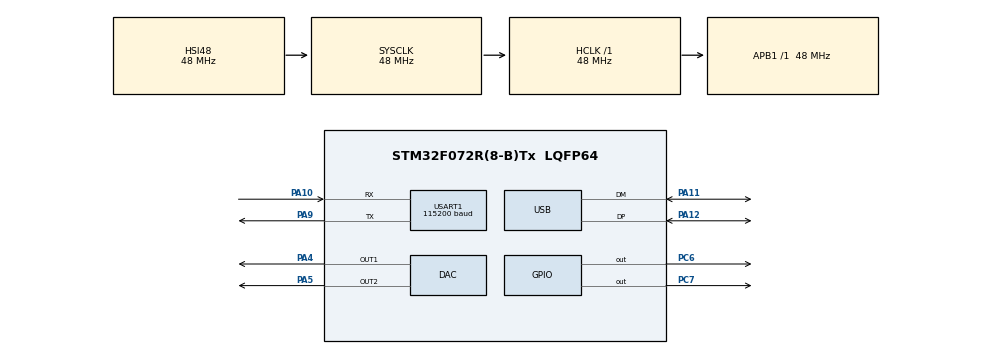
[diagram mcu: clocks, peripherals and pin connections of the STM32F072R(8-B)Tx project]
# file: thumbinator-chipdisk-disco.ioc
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DAC.DAC_OutputBuffer2=DAC_OUTPUTBUFFER_DISABLE
DAC.DAC_Trigger=DAC_TRIGGER_T6_TRGO
DAC.DAC_Trigger2=DAC_TRIGGER_NONE
DAC.WaveGeneration=DISABLE
Dma.DAC_CH1.0.Direction=DMA_MEMORY_TO_PERIPH
Dma.DAC_CH1.0.Instance=DMA1_Channel3
Dma.DAC_CH1.0.MemDataAlignment=DMA_MDATAALIGN_BYTE
Dma.DAC_CH1.0.MemInc=DMA_MINC_ENABLE
Dma.DAC_CH1.0.Mode=DMA_CIRCULAR
Dma.DAC_CH1.0.PeriphDataAlignment=DMA_PDATAALIGN_BYTE
Dma.DAC_CH1.0.PeriphInc=DMA_PINC_DISABLE
Dma.DAC_CH1.0.Priority=DMA_PRIORITY_LOW
Dma.Request0=DAC_CH1
Mcu.Family=STM32F0
Mcu.Name=STM32F072R(8-B)Tx
Mcu.Package=LQFP64
NVIC.DMA1_Channel2_3_IRQn=true\:0\:0\:false\:false\:true
PA10.Mode=Asynchronous
PA10.Signal=USART1_RX
PA11.Mode=Device
PA11.Signal=USB_DM
PA12.Mode=Device
PA12.Signal=USB_DP
PA4.Signal=COMP_DAC1_group
PA5.Signal=COMP_DAC2_group
PA9.Mode=Asynchronous
PA9.Signal=USART1_TX
PC6.Signal=GPIO_Output
PC7.Signal=GPIO_Output
ProjectManager.HeapSize=0x200
ProjectManager.StackSize=0x400
ProjectManager.TargetToolchain=SW4STM32
RCC.AHBFreq_Value=48000000
RCC.APB1Freq_Value=48000000
RCC.APB1TimFreq_Value=48000000
RCC.HCLKFreq_Value=48000000
RCC.SYSCLKFreq_VALUE=48000000
RCC.SYSCLKSource=RCC_SYSCLKSOURCE_HSI48
SH.COMP_DAC1_group.0=DAC_OUT1,DAC_OUT1
SH.COMP_DAC2_group.0=DAC_OUT2,DAC_OUT2
TIM6.Period=10000
TIM6.TIM_MasterOutputTrigger=TIM_TRGO_UPDATE
USART1.BaudRate=115200
USART1.WordLength=UART_WORDLENGTH_8B
VP_TIM6_VS_ClockSourceINT.Mode=Enable_Timer
board=thumbinator-chipdisk-disco

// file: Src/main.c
/**
  ******************************************************************************
  * File Name          : main.c
  * Description        : Main program body
  ******************************************************************************
  *
  * COPYRIGHT(c) 2016 STMicroelectronics
  *
  * Redistribution and use in source and binary forms, with or without modification,
  * are permitted provided that the following conditions are met:
  *   1. Redistributions of source code must retain the above copyright notice,
  *      this list of conditions and the following disclaimer.
  *   2. Redistributions in binary form must reproduce the above copyright notice,
  *      this list of conditions and the following disclaimer in the documentation
  *      and/or other materials provided with the distribution.
  *   3. Neither the name of STMicroelectronics nor the names of its contributors
  *      may be used to endorse or promote products derived from this software
  *      without specific prior written permission.
  *
  * THIS SOFTWARE IS PROVIDED BY THE COPYRIGHT HOLDERS AND CONTRIBUTORS "AS IS"
  * AND ANY EXPRESS OR IMPLIED WARRANTIES, INCLUDING, BUT NOT LIMITED TO, THE
  * IMPLIED WARRANTIES OF MERCHANTABILITY AND FITNESS FOR A PARTICULAR PURPOSE ARE
  * DISCLAIMED. IN NO EVENT SHALL THE COPYRIGHT HOLDER OR CONTRIBUTORS BE LIABLE
  * FOR ANY DIRECT, INDIRECT, INCIDENTAL, SPECIAL, EXEMPLARY, OR CONSEQUENTIAL
  * DAMAGES (INCLUDING, BUT NOT LIMITED TO, PROCUREMENT OF SUBSTITUTE GOODS OR
  * SERVICES; LOSS OF USE, DATA, OR PROFITS; OR BUSINESS INTERRUPTION) HOWEVER
  * CAUSED AND ON ANY THEORY OF LIABILITY, WHETHER IN CONTRACT, STRICT LIABILITY,
  * OR TORT (INCLUDING NEGLIGENCE OR OTHERWISE) ARISING IN ANY WAY OUT OF THE USE
  * OF THIS SOFTWARE, EVEN IF ADVISED OF THE POSSIBILITY OF SUCH DAMAGE.
  *
  ******************************************************************************
  */
#include "main.h"
#include "stm32f0xx_hal.h"

/* USER CODE BEGIN Includes */
#include "utils.h"
#include "micromod.h"
#include "test.h"

/* USER CODE END Includes */

DAC_HandleTypeDef hdac;
DMA_HandleTypeDef hdma_dac_ch1;

TIM_HandleTypeDef htim6;

UART_HandleTypeDef huart1;

PCD_HandleTypeDef hpcd_USB_FS;

/* USER CODE BEGIN PV */
/* Private variables ---------------------------------------------------------*/
int16_t song_length;
uint8_t buffer1[512*1];
uint8_t buffer2[512*1];
int16_t decoded[512*1];
uint32_t *active_buffer = buffer1;

/* USER CODE END PV */

void SystemClock_Config(void);
void Error_Handler(void);
static void MX_GPIO_Init(void);
static void MX_DMA_Init(void);
static void MX_USB_PCD_Init(void);
static void MX_DAC_Init(void);
static void MX_TIM6_Init(void);
static void MX_USART1_UART_Init(void);

/* USER CODE BEGIN PFP */
/* Private function prototypes -----------------------------------------------*/

/* USER CODE END PFP */

/* USER CODE BEGIN 0 */
void HAL_DAC_ConvCpltCallbackCh1(DAC_HandleTypeDef* hdac)
//void HAL_DAC_ConvHalfCpltCallbackCh1(DAC_HandleTypeDef* hdac)
{

  UNUSED(hdac);

//  HAL_DAC_Stop_DMA(&hdac, DAC_CHANNEL_1);

//  uart_printf(".");

  // swap
//  DMA1_Channel3->CMAR = (uint32_t) & *active_buffer;
//  active_buffer = active_buffer == buffer1 ? buffer2 : buffer1;

  int i;
  for (i = 0; i < sizeof(decoded)/2; i++) {
    decoded[i] = 0;
  }

  micromod_get_audio(decoded, sizeof(decoded)/4);

  for (i = 0; i < sizeof(decoded)/4; i++) {
//    active_buffer[i] = (decoded[i*2+1] >> 8) + 0x7f;
//    active_buffer[i] = (decoded[i*2+1] >> 1) + 0x7fff;
    active_buffer[i] = (decoded[i*2+1] >> 8);
  }
//  HAL_DMA_Start_IT(hdac->DMA_Handle1, (uint32_t)buffer1, (uint32_t)&hdac->Instance->DHR8R1, sizeof(buffer1)/4);

//  HAL_DAC_Stop_DMA(&hdac, DAC_CHANNEL_1);
//  HAL_DAC_Start_DMA(&hdac, DAC_CHANNEL_1, (uint8_t*)buffer1, sizeof(buffer1), DAC_ALIGN_8B_R);
}

/* USER CODE END 0 */

int main(void)
{

  /* MCU Configuration----------------------------------------------------------*/

  /* Reset of all peripherals, Initializes the Flash interface and the Systick. */
  HAL_Init();

  /* Configure the system clock */
  SystemClock_Config();

  /* Initialize all configured peripherals */
  MX_GPIO_Init();
  MX_DMA_Init();
  MX_USB_PCD_Init();
  MX_DAC_Init();
  MX_TIM6_Init();
  MX_USART1_UART_Init();

  /* USER CODE BEGIN 2 */
  HAL_GPIO_WritePin(GPIOC, GPIO_PIN_7, GPIO_PIN_SET);
  song_length = micromod_calculate_mod_file_len(chiptune);
//  micromod_initialise(chiptune, 48000);
  micromod_initialise(chiptune, 8000);

  HAL_Delay(100);

//  HAL_TIM_Base_MspInit(&htim6);

//  HAL_DAC_Start(&hdac, DAC_CHANNEL_1);
//  HAL_DAC_Start_DMA(&hdac, DAC_CHANNEL_1, sintable2, sizeof(sintable), DAC_ALIGN_8B_R);
//  HAL_DAC_Start_DMA(&hdac, DAC_CHANNEL_1, noise, sizeof(noise), DAC_ALIGN_8B_R);
  HAL_DAC_Start_DMA(&hdac, DAC_CHANNEL_1, (uint8_t*)buffer1, sizeof(buffer1), DAC_ALIGN_8B_R);

  // Start the timer!! Important!
  __HAL_TIM_ENABLE(&htim6);
//  HAL_TIM_Base_MspInit(&htim6);

  /* USER CODE END 2 */

  /* Infinite loop */
  /* USER CODE BEGIN WHILE */
  int i = 0;
  uart_printf("Hello! %d\r\n", i);
  while (1)
  {
  /* USER CODE END WHILE */

  /* USER CODE BEGIN 3 */

  HAL_GPIO_TogglePin(GPIOC, GPIO_PIN_7);
  HAL_Delay(100);

  i++;
  uart_printf("Hello! %d\r\n", i);

#if 0
    i = (i + 2) % (sizeof(sintable)/2);
    HAL_DAC_SetValue(&hdac, DAC_CHANNEL_1, DAC_ALIGN_8B_R, sintable[i]);
    volatile int x;
    for(x=0;x<2000;x++);
#endif

#if 0
      int i;
      for (i = 0; i < sizeof(buffer)/2; i++) {
        buffer[i] = 0;
      }
      HAL_GPIO_TogglePin(GPIOC, GPIO_PIN_7);
      micromod_get_audio(buffer, sizeof(buffer));
      for (i = 0; i < sizeof(buffer)/4; i++) {
        if (buffer[i*2] > 0) {
          HAL_GPIO_WritePin(GPIOC, GPIO_PIN_6, GPIO_PIN_SET);
        }
        else {
          HAL_GPIO_WritePin(GPIOC, GPIO_PIN_6, GPIO_PIN_RESET);
        }
        {
          volatile int zz;
          for (zz = 0; zz < 150; zz++);
        }
      }
#endif

  }
  /* USER CODE END 3 */

}

/** System Clock Configuration
*/
void SystemClock_Config(void)
{

  RCC_OscInitTypeDef RCC_OscInitStruct;
  RCC_ClkInitTypeDef RCC_ClkInitStruct;
  RCC_PeriphCLKInitTypeDef PeriphClkInit;

    /**Initializes the CPU, AHB and APB busses clocks
    */
  RCC_OscInitStruct.OscillatorType = RCC_OSCILLATORTYPE_HSI48;
  RCC_OscInitStruct.HSI48State = RCC_HSI48_ON;
  RCC_OscInitStruct.PLL.PLLState = RCC_PLL_NONE;
  if (HAL_RCC_OscConfig(&RCC_OscInitStruct) != HAL_OK)
  {
    Error_Handler();
  }

    /**Initializes the CPU, AHB and APB busses clocks
    */
  RCC_ClkInitStruct.ClockType = RCC_CLOCKTYPE_HCLK|RCC_CLOCKTYPE_SYSCLK
                              |RCC_CLOCKTYPE_PCLK1;
  RCC_ClkInitStruct.SYSCLKSource = RCC_SYSCLKSOURCE_HSI48;
  RCC_ClkInitStruct.AHBCLKDivider = RCC_SYSCLK_DIV1;
  RCC_ClkInitStruct.APB1CLKDivider = RCC_HCLK_DIV1;

  if (HAL_RCC_ClockConfig(&RCC_ClkInitStruct, FLASH_LATENCY_1) != HAL_OK)
  {
    Error_Handler();
  }

  PeriphClkInit.PeriphClockSelection = RCC_PERIPHCLK_USB|RCC_PERIPHCLK_USART1;
  PeriphClkInit.Usart1ClockSelection = RCC_USART1CLKSOURCE_PCLK1;
  PeriphClkInit.UsbClockSelection = RCC_USBCLKSOURCE_HSI48;

  if (HAL_RCCEx_PeriphCLKConfig(&PeriphClkInit) != HAL_OK)
  {
    Error_Handler();
  }

    /**Configure the Systick interrupt time
    */
  HAL_SYSTICK_Config(HAL_RCC_GetHCLKFreq()/1000);

    /**Configure the Systick
    */
  HAL_SYSTICK_CLKSourceConfig(SYSTICK_CLKSOURCE_HCLK);

  /* SysTick_IRQn interrupt configuration */
  HAL_NVIC_SetPriority(SysTick_IRQn, 0, 0);
}

/* DAC init function */
static void MX_DAC_Init(void)
{

  DAC_ChannelConfTypeDef sConfig;

    /**DAC Initialization
    */
  hdac.Instance = DAC;
  if (HAL_DAC_Init(&hdac) != HAL_OK)
  {
    Error_Handler();
  }

    /**DAC channel OUT1 config
    */
  sConfig.DAC_Trigger = DAC_TRIGGER_T6_TRGO;
  sConfig.DAC_OutputBuffer = DAC_OUTPUTBUFFER_ENABLE;
  if (HAL_DAC_ConfigChannel(&hdac, &sConfig, DAC_CHANNEL_1) != HAL_OK)
  {
    Error_Handler();
  }

    /**DAC channel OUT2 config
    */
  sConfig.DAC_Trigger = DAC_TRIGGER_NONE;
  sConfig.DAC_OutputBuffer = DAC_OUTPUTBUFFER_DISABLE;
  if (HAL_DAC_ConfigChannel(&hdac, &sConfig, DAC_CHANNEL_2) != HAL_OK)
  {
    Error_Handler();
  }

}

/* TIM6 init function */
static void MX_TIM6_Init(void)
{

  TIM_MasterConfigTypeDef sMasterConfig;

  htim6.Instance = TIM6;
  htim6.Init.Prescaler = 0;
  htim6.Init.CounterMode = TIM_COUNTERMODE_UP;
  htim6.Init.Period = 3000;
  if (HAL_TIM_Base_Init(&htim6) != HAL_OK)
  {
    Error_Handler();
  }

  sMasterConfig.MasterOutputTrigger = TIM_TRGO_UPDATE;
  sMasterConfig.MasterSlaveMode = TIM_MASTERSLAVEMODE_DISABLE;
  if (HAL_TIMEx_MasterConfigSynchronization(&htim6, &sMasterConfig) != HAL_OK)
  {
    Error_Handler();
  }

}

/* USART1 init function */
static void MX_USART1_UART_Init(void)
{

  huart1.Instance = USART1;
  huart1.Init.BaudRate = 115200;
  huart1.Init.WordLength = UART_WORDLENGTH_8B;
  huart1.Init.StopBits = UART_STOPBITS_1;
  huart1.Init.Parity = UART_PARITY_NONE;
  huart1.Init.Mode = UART_MODE_TX_RX;
  huart1.Init.HwFlowCtl = UART_HWCONTROL_NONE;
  huart1.Init.OverSampling = UART_OVERSAMPLING_16;
  huart1.Init.OneBitSampling = UART_ONE_BIT_SAMPLE_DISABLE;
  huart1.AdvancedInit.AdvFeatureInit = UART_ADVFEATURE_NO_INIT;
  if (HAL_UART_Init(&huart1) != HAL_OK)
  {
    Error_Handler();
  }

}

/* USB init function */
static void MX_USB_PCD_Init(void)
{

  hpcd_USB_FS.Instance = USB;
  hpcd_USB_FS.Init.dev_endpoints = 8;
  hpcd_USB_FS.Init.speed = PCD_SPEED_FULL;
  hpcd_USB_FS.Init.ep0_mps = DEP0CTL_MPS_64;
  hpcd_USB_FS.Init.phy_itface = PCD_PHY_EMBEDDED;
  hpcd_USB_FS.Init.low_power_enable = DISABLE;
  hpcd_USB_FS.Init.lpm_enable = DISABLE;
  hpcd_USB_FS.Init.battery_charging_enable = DISABLE;
  if (HAL_PCD_Init(&hpcd_USB_FS) != HAL_OK)
  {
    Error_Handler();
  }

}

static void MX_DMA_Init(void)
{
  /* DMA controller clock enable */
  __HAL_RCC_DMA1_CLK_ENABLE();

  /* DMA interrupt init */
  /* DMA1_Channel2_3_IRQn interrupt configuration */
  HAL_NVIC_SetPriority(DMA1_Channel2_3_IRQn, 0, 0);
  HAL_NVIC_EnableIRQ(DMA1_Channel2_3_IRQn);

}

/** Configure pins as
        * Analog
        * Input
        * Output
        * EVENT_OUT
        * EXTI
*/
static void MX_GPIO_Init(void)
{

  GPIO_InitTypeDef GPIO_InitStruct;

  /* GPIO Ports Clock Enable */
  __HAL_RCC_GPIOA_CLK_ENABLE();
  __HAL_RCC_GPIOC_CLK_ENABLE();

  /*Configure GPIO pin Output Level */
  HAL_GPIO_WritePin(GPIOC, GPIO_PIN_6|GPIO_PIN_7, GPIO_PIN_RESET);

  /*Configure GPIO pins : PC6 PC7 */
  GPIO_InitStruct.Pin = GPIO_PIN_6|GPIO_PIN_7;
  GPIO_InitStruct.Mode = GPIO_MODE_OUTPUT_PP;
  GPIO_InitStruct.Pull = GPIO_NOPULL;
  GPIO_InitStruct.Speed = GPIO_SPEED_FREQ_LOW;
  HAL_GPIO_Init(GPIOC, &GPIO_InitStruct);

}

void Error_Handler(void)
{
  /* USER CODE BEGIN Error_Handler */
  /* User can add his own implementation to report the HAL error return state */
  uart_printf("Panic!");
  while(1)
  {
  }
  /* USER CODE END Error_Handler */
}

#ifdef USE_FULL_ASSERT

/**
   * @brief Reports the name of the source file and the source line number
   * where the assert_param error has occurred.
   * @param file: pointer to the source file name
   * @param line: assert_param error line source number
   * @retval None
   */
void assert_failed(uint8_t* file, uint32_t line)
{
  /* USER CODE BEGIN 6 */
  /* User can add his own implementation to report the file name and line number,
    ex: printf("Wrong parameters value: file %s on line %d\r\n", file, line) */
  uart_printf("Wrong parameters value: file %s on line %d\r\n", file, line);
  /* USER CODE END 6 */

}

#endif

/************************ (C) COPYRIGHT STMicroelectronics *****END OF FILE****/
